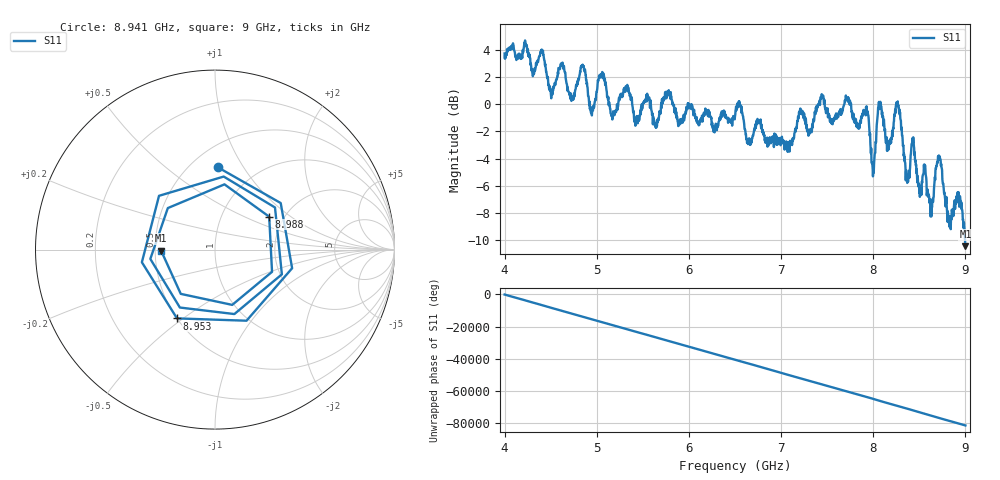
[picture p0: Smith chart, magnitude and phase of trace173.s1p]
! Created with skrf 1.8.0 (http://scikit-rf.org).
# Hz S RI R 50.0
!freq ReS11 ImS11
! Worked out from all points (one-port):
!   1601 points, 4 GHz to 9 GHz, reference 50 ohm
!   lowest |S11| = -10.4 dB at 9 GHz (marker M1), VSWR 1.86, Z = 26.9 - j0.299 ohm
!   |S11| at or under -10 dB: 8.995758 GHz to end of sweep
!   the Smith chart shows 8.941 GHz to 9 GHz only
!   S11 on the Smith chart (normalised r, x): 8.941 GHz: 0.67, +0.78; 8.953 GHz: 0.50, -0.47; 8.988 GHz: 1.68, +0.70; 9 GHz: 0.54, -0.01
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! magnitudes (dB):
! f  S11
! 4 GHz  3.7
! 4.403 GHz  4.0
! 4.506 GHz  0.4
! 4.625 GHz  2.9
! 4.734 GHz  0.4
! 4.85 GHz  2.7
! 4.944 GHz  -0.4
! 5.05 GHz  2.2
! 5.169 GHz  -1.1
! 5.25 GHz  0.5
! 5.875 GHz  -1.1
! 6.5 GHz  -0.9
! 7.125 GHz  -2.5
! 7.75 GHz  0.2
! 7.928 GHz  -0.2
! 7.997 GHz  -5.3
! 8.066 GHz  -0.4
! 8.172 GHz  -2.9
! 8.269 GHz  -0.1
! 8.375 GHz  -5.6
! 8.434 GHz  -2.4
! 8.631 GHz  -8.2
! 8.716 GHz  -4.1
! 8.825 GHz  -8.5
! 8.941 GHz  -6.8
! 8.953 GHz  -7.2
! 8.988 GHz  -9.0
! 9 GHz  -10.4
